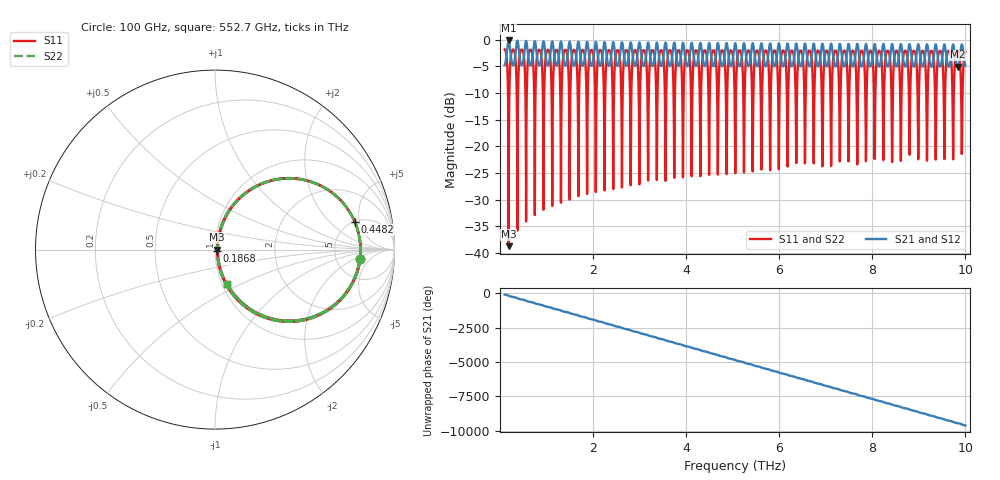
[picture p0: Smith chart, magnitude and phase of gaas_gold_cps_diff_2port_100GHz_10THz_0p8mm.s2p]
# Hz S RI R 100
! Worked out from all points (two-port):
!   10000 points, 100 GHz to 10 THz, reference 100 ohm
!   highest |S21| = -0.12 dB at 187.1 GHz (marker M1); lowest = -5.1 dB at 9.831 THz (marker M2)
!   |S21| within 3 dB of the highest: 139.4 GHz to 234.7 GHz (95.32 GHz wide, 51 % of centre); 327 GHz to 421.6 GHz (94.58 GHz wide, 25.3 % of centre)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
!   lowest |S11| = -38.8 dB at 187.3 GHz (marker M3), VSWR 1.02, Z = 102 + j0.0505 ohm
!   |S11| at or under -10 dB: 3.355 THz to 3.385 THz (29.86 GHz wide, 0.886 % of centre); 3.543 THz to 3.573 THz (29.9 GHz wide, 0.84 % of centre); 3.73 THz to 3.76 THz (29.93 GHz wide, 0.799 % of centre)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
!   |S22| runs from -38.8 to -1.8 dB; largest |S21 - S12| = 4.4e-16
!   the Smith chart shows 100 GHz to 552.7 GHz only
!   S11 on the Smith chart (normalised r, x): 100 GHz: 8.81, -2.65; 186.8 GHz: 1.02, -0.02; 448.2 GHz: 5.08, +4.23; 552.7 GHz: 1.06, -0.43
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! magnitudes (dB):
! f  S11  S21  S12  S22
! 100 GHz  -1.8  -4.8  -4.8  -1.8
! 164.4 GHz  -6.7  -1.1  -1.1  -6.7
! 186.8 GHz  -36.4  -0.1  -0.1  -36.4
! 187.1 GHz  -38.3  -0.1  -0.1  -38.3
! 187.3 GHz  -38.8  -0.1  -0.1  -38.8
! 229.2 GHz  -3.5  -2.7  -2.7  -3.5
! 336.9 GHz  -4.0  -2.4  -2.4  -4.0
! 374.5 GHz  -35.8  -0.2  -0.2  -35.8
! 448.2 GHz  -2.0  -4.5  -4.5  -2.0
! 552.7 GHz  -13.8  -0.4  -0.4  -13.8
! 643.1 GHz  -1.9  -4.7  -4.7  -1.9
! 748.7 GHz  -32.6  -0.2  -0.2  -32.6
! 828.9 GHz  -1.9  -4.7  -4.7  -1.9
! 936 GHz  -31.9  -0.3  -0.3  -31.9
! 1.016 THz  -1.9  -4.7  -4.7  -1.9
! 1.75 THz  -2.3  -4.3  -4.3  -2.3
! 3.401 THz  -5.3  -2.0  -2.0  -5.3
! 5.051 THz  -18.8  -0.7  -0.7  -18.8
! 6.702 THz  -4.1  -2.8  -2.8  -4.1
! 8.352 THz  -2.2  -4.7  -4.7  -2.2
! 9.831 THz  -2.1  -5.1  -5.1  -2.1
! 10 THz  -2.2  -4.8  -4.8  -2.2
